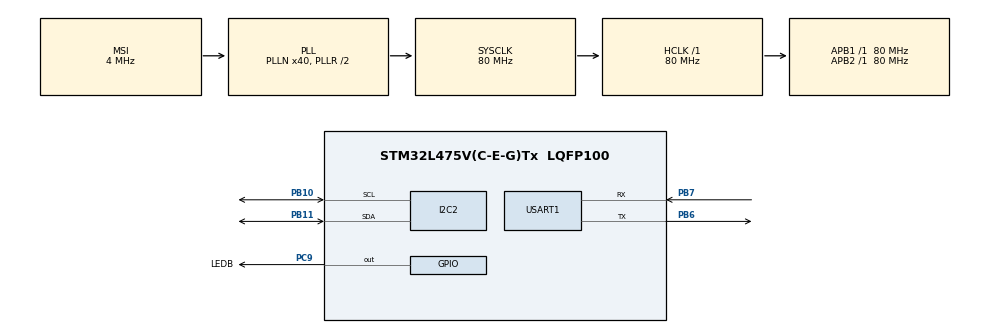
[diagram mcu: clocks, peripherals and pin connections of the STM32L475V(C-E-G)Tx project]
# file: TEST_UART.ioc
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Mcu.Family=STM32L4
Mcu.Name=STM32L475V(C-E-G)Tx
Mcu.Package=LQFP100
NVIC.PriorityGroup=NVIC_PRIORITYGROUP_4
NVIC.USART1_IRQn=true\:0\:0\:false\:false\:true\:true
PA13\ (JTMS-SWDIO).Mode=Serial_Wire
PA13\ (JTMS-SWDIO).Signal=SYS_JTMS-SWDIO
PA14\ (JTCK-SWCLK).Mode=Serial_Wire
PA14\ (JTCK-SWCLK).Signal=SYS_JTCK-SWCLK
PB10.Mode=I2C
PB10.Signal=I2C2_SCL
PB11.Mode=I2C
PB11.Signal=I2C2_SDA
PB6.Mode=Asynchronous
PB6.Signal=USART1_TX
PB7.Mode=Asynchronous
PB7.Signal=USART1_RX
PC14-OSC32_IN\ (PC14).Mode=LSE-External-Oscillator
PC14-OSC32_IN\ (PC14).Signal=RCC_OSC32_IN
PC15-OSC32_OUT\ (PC15).Mode=LSE-External-Oscillator
PC15-OSC32_OUT\ (PC15).Signal=RCC_OSC32_OUT
PC9.GPIO_Label=LEDB
PC9.Signal=GPIO_Output
ProjectManager.HeapSize=0x200
ProjectManager.StackSize=0x400
ProjectManager.TargetToolchain=SW4STM32
RCC.AHBFreq_Value=80000000
RCC.APB1Freq_Value=80000000
RCC.APB1TimFreq_Value=80000000
RCC.APB2Freq_Value=80000000
RCC.APB2TimFreq_Value=80000000
RCC.CortexFreq_Value=80000000
RCC.HCLKFreq_Value=80000000
RCC.HSE_VALUE=8000000
RCC.HSI_VALUE=16000000
RCC.MSI_VALUE=4000000
RCC.PLLN=40
RCC.SYSCLKFreq_VALUE=80000000
RCC.SYSCLKSource=RCC_SYSCLKSOURCE_PLLCLK
RCC.USART1CLockSelection=RCC_USART1CLKSOURCE_SYSCLK
RCC.VCOOutputFreq_Value=160000000
USART1.VirtualMode-Asynchronous=VM_ASYNC
USART1.WordLength=WORDLENGTH_8B
board=TEST_UART

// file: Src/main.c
/**
  ******************************************************************************
  * File Name          : main.c
  * Description        : Main program body
  ******************************************************************************
  ** This notice applies to any and all portions of this file
  * that are not between comment pairs USER CODE BEGIN and
  * USER CODE END. Other portions of this file, whether
  * inserted by the user or by software development tools
  * are owned by their respective copyright owners.
  *
  * COPYRIGHT(c) 2017 STMicroelectronics
  *
  * Redistribution and use in source and binary forms, with or without modification,
  * are permitted provided that the following conditions are met:
  *   1. Redistributions of source code must retain the above copyright notice,
  *      this list of conditions and the following disclaimer.
  *   2. Redistributions in binary form must reproduce the above copyright notice,
  *      this list of conditions and the following disclaimer in the documentation
  *      and/or other materials provided with the distribution.
  *   3. Neither the name of STMicroelectronics nor the names of its contributors
  *      may be used to endorse or promote products derived from this software
  *      without specific prior written permission.
  *
  * THIS SOFTWARE IS PROVIDED BY THE COPYRIGHT HOLDERS AND CONTRIBUTORS "AS IS"
  * AND ANY EXPRESS OR IMPLIED WARRANTIES, INCLUDING, BUT NOT LIMITED TO, THE
  * IMPLIED WARRANTIES OF MERCHANTABILITY AND FITNESS FOR A PARTICULAR PURPOSE ARE
  * DISCLAIMED. IN NO EVENT SHALL THE COPYRIGHT HOLDER OR CONTRIBUTORS BE LIABLE
  * FOR ANY DIRECT, INDIRECT, INCIDENTAL, SPECIAL, EXEMPLARY, OR CONSEQUENTIAL
  * DAMAGES (INCLUDING, BUT NOT LIMITED TO, PROCUREMENT OF SUBSTITUTE GOODS OR
  * SERVICES; LOSS OF USE, DATA, OR PROFITS; OR BUSINESS INTERRUPTION) HOWEVER
  * CAUSED AND ON ANY THEORY OF LIABILITY, WHETHER IN CONTRACT, STRICT LIABILITY,
  * OR TORT (INCLUDING NEGLIGENCE OR OTHERWISE) ARISING IN ANY WAY OUT OF THE USE
  * OF THIS SOFTWARE, EVEN IF ADVISED OF THE POSSIBILITY OF SUCH DAMAGE.
  *
  ******************************************************************************
  */
#include "main.h"
#include "stm32l4xx_hal.h"
/* USER CODE BEGIN Includes */
#include "stdio.h"
#include "terminal.h"
#include "LPS22HM.h"
#include "HTS221.h"

struct __FILE {
	int dummy;
};
/* USER CODE END Includes */

I2C_HandleTypeDef hi2c2;

UART_HandleTypeDef huart1;

/* USER CODE BEGIN PV */
/* Private variables ---------------------------------------------------------*/

/* USER CODE END PV */

void SystemClock_Config(void);
static void MX_GPIO_Init(void);
static void MX_USART1_UART_Init(void);
static void MX_I2C2_Init(void);

/* USER CODE BEGIN PFP */
/* Private function prototypes -----------------------------------------------*/

/* USER CODE END PFP */

/* USER CODE BEGIN 0 */
void Print_Out()
{
		float fTemp;
		float fHum;
		float fPress;
		int who;
		printf("\x1b[%d;%dH",1,1);
		printf(FGGREEN);
		printf(greetings);
		who = HTS221_Init();
		printf("\x1b[%d;%dH",12,1);
		printf(ATTINVERSE);
		printf(FGGREEN);
		printf("HTS221 - Humidity & Temperature sensor\r\n");
		printf(ATTRESET);
		printf(ATTINVERSE);
		printf(FGYELLOW);
		printf("Who am I = 0X%Xh\r\n",who);
		printf(ATTRESET);

		/* Poklici funkciji, ki prebereta temperaturo in vlago*/

		fTemp = HTS221_Get_Temperature();
		fHum = HTS221_Get_Humidity();

		printf(FGWHITE);
		printf("Rel. Humidity: %.1f%%\t Temperature: %.1f%s \r\n", fHum/10.0 ,fTemp, DEG_SYM);
		printf(ATTRESET);

		who = LPS22HM_Init();
		printf("\x1b[%d;%dH",17,1); //locate 1,1 (Y,X)
		printf(ATTINVERSE);
		printf(FGCYAN);
		printf("LPS22HB - Pressure & Temperature sensor\r\n");
		printf(ATTRESET);
		printf(ATTINVERSE);
		printf(FGYELLOW);
		printf("Who am I = 0X%Xh\r\n",who);
		printf(ATTRESET);

		/* Poklici funkciji, ki prebereta temperaturo in tlak*/

		fTemp = LPS22HM_Get_Temperature();
		fPress = LPS22HM_Get_Pressure();

		printf("Air Pressure: %.1f hPa @ %im ASL\t Temperature: %.1f%s ",fPress, ASL, fTemp, DEG_SYM);
}
/* USER CODE END 0 */

int main(void)
{

  /* MCU Configuration----------------------------------------------------------*/

  /* Reset of all peripherals, Initializes the Flash interface and the Systick. */
  HAL_Init();

  /* Configure the system clock */
  SystemClock_Config();

  /* Initialize all configured peripherals */
  MX_GPIO_Init();
  MX_USART1_UART_Init();
  MX_I2C2_Init();

  /* USER CODE BEGIN 2 */
  HTS221_Init();
  HAL_Delay(50);
  HTS221_Get_Calibration();
  /* USER CODE END 2 */

  /* Infinite loop */
  /* USER CODE BEGIN WHILE */
  while (1)
  {
	  Print_Out();

	  HAL_Delay(500);

  /* USER CODE END WHILE */

  }

}

/** System Clock Configuration
*/
void SystemClock_Config(void)
{

  RCC_OscInitTypeDef RCC_OscInitStruct;
  RCC_ClkInitTypeDef RCC_ClkInitStruct;
  RCC_PeriphCLKInitTypeDef PeriphClkInit;

    /**Configure LSE Drive Capability
    */
  __HAL_RCC_LSEDRIVE_CONFIG(RCC_LSEDRIVE_LOW);

    /**Initializes the CPU, AHB and APB busses clocks
    */
  RCC_OscInitStruct.OscillatorType = RCC_OSCILLATORTYPE_LSE|RCC_OSCILLATORTYPE_MSI;
  RCC_OscInitStruct.LSEState = RCC_LSE_ON;
  RCC_OscInitStruct.MSIState = RCC_MSI_ON;
  RCC_OscInitStruct.MSICalibrationValue = 0;
  RCC_OscInitStruct.MSIClockRange = RCC_MSIRANGE_6;
  RCC_OscInitStruct.PLL.PLLState = RCC_PLL_ON;
  RCC_OscInitStruct.PLL.PLLSource = RCC_PLLSOURCE_MSI;
  RCC_OscInitStruct.PLL.PLLN = 40;
  RCC_OscInitStruct.PLL.PLLP = RCC_PLLP_DIV7;
  RCC_OscInitStruct.PLL.PLLQ = RCC_PLLQ_DIV2;
  RCC_OscInitStruct.PLL.PLLR = RCC_PLLR_DIV2;
  if (HAL_RCC_OscConfig(&RCC_OscInitStruct) != HAL_OK)
  {
    _Error_Handler(__FILE__, __LINE__);
  }

    /**Initializes the CPU, AHB and APB busses clocks
    */
  RCC_ClkInitStruct.ClockType = RCC_CLOCKTYPE_HCLK|RCC_CLOCKTYPE_SYSCLK
                              |RCC_CLOCKTYPE_PCLK1|RCC_CLOCKTYPE_PCLK2;
  RCC_ClkInitStruct.SYSCLKSource = RCC_SYSCLKSOURCE_PLLCLK;
  RCC_ClkInitStruct.AHBCLKDivider = RCC_SYSCLK_DIV1;
  RCC_ClkInitStruct.APB1CLKDivider = RCC_HCLK_DIV1;
  RCC_ClkInitStruct.APB2CLKDivider = RCC_HCLK_DIV1;

  if (HAL_RCC_ClockConfig(&RCC_ClkInitStruct, FLASH_LATENCY_3) != HAL_OK)
  {
    _Error_Handler(__FILE__, __LINE__);
  }

  PeriphClkInit.PeriphClockSelection = RCC_PERIPHCLK_USART1|RCC_PERIPHCLK_I2C2;
  PeriphClkInit.Usart1ClockSelection = RCC_USART1CLKSOURCE_SYSCLK;
  PeriphClkInit.I2c2ClockSelection = RCC_I2C2CLKSOURCE_PCLK1;
  if (HAL_RCCEx_PeriphCLKConfig(&PeriphClkInit) != HAL_OK)
  {
    _Error_Handler(__FILE__, __LINE__);
  }

    /**Configure the main internal regulator output voltage
    */
  if (HAL_PWREx_ControlVoltageScaling(PWR_REGULATOR_VOLTAGE_SCALE1) != HAL_OK)
  {
    _Error_Handler(__FILE__, __LINE__);
  }

    /**Configure the Systick interrupt time
    */
  HAL_SYSTICK_Config(HAL_RCC_GetHCLKFreq()/1000);

    /**Configure the Systick
    */
  HAL_SYSTICK_CLKSourceConfig(SYSTICK_CLKSOURCE_HCLK);

    /**Enable MSI Auto calibration
    */
  HAL_RCCEx_EnableMSIPLLMode();

  /* SysTick_IRQn interrupt configuration */
  HAL_NVIC_SetPriority(SysTick_IRQn, 0, 0);
}

/* I2C2 init function */
static void MX_I2C2_Init(void)
{

  hi2c2.Instance = I2C2;
  hi2c2.Init.Timing = 0x10909CEC;
  hi2c2.Init.OwnAddress1 = 0;
  hi2c2.Init.AddressingMode = I2C_ADDRESSINGMODE_7BIT;
  hi2c2.Init.DualAddressMode = I2C_DUALADDRESS_DISABLE;
  hi2c2.Init.OwnAddress2 = 0;
  hi2c2.Init.OwnAddress2Masks = I2C_OA2_NOMASK;
  hi2c2.Init.GeneralCallMode = I2C_GENERALCALL_DISABLE;
  hi2c2.Init.NoStretchMode = I2C_NOSTRETCH_DISABLE;
  if (HAL_I2C_Init(&hi2c2) != HAL_OK)
  {
    _Error_Handler(__FILE__, __LINE__);
  }

    /**Configure Analogue filter
    */
  if (HAL_I2CEx_ConfigAnalogFilter(&hi2c2, I2C_ANALOGFILTER_ENABLE) != HAL_OK)
  {
    _Error_Handler(__FILE__, __LINE__);
  }

    /**Configure Digital filter
    */
  if (HAL_I2CEx_ConfigDigitalFilter(&hi2c2, 0) != HAL_OK)
  {
    _Error_Handler(__FILE__, __LINE__);
  }

}

/* USART1 init function */
static void MX_USART1_UART_Init(void)
{

  huart1.Instance = USART1;
  huart1.Init.BaudRate = 115200;
  huart1.Init.WordLength = UART_WORDLENGTH_8B;
  huart1.Init.StopBits = UART_STOPBITS_1;
  huart1.Init.Parity = UART_PARITY_NONE;
  huart1.Init.Mode = UART_MODE_TX_RX;
  huart1.Init.HwFlowCtl = UART_HWCONTROL_NONE;
  huart1.Init.OverSampling = UART_OVERSAMPLING_16;
  huart1.Init.OneBitSampling = UART_ONE_BIT_SAMPLE_DISABLE;
  huart1.AdvancedInit.AdvFeatureInit = UART_ADVFEATURE_NO_INIT;
  if (HAL_UART_Init(&huart1) != HAL_OK)
  {
    _Error_Handler(__FILE__, __LINE__);
  }

}

/** Configure pins as
        * Analog
        * Input
        * Output
        * EVENT_OUT
        * EXTI
*/
static void MX_GPIO_Init(void)
{

  GPIO_InitTypeDef GPIO_InitStruct;

  /* GPIO Ports Clock Enable */
  __HAL_RCC_GPIOC_CLK_ENABLE();
  __HAL_RCC_GPIOB_CLK_ENABLE();
  __HAL_RCC_GPIOA_CLK_ENABLE();

  /*Configure GPIO pin Output Level */
  HAL_GPIO_WritePin(LEDB_GPIO_Port, LEDB_Pin, GPIO_PIN_RESET);

  /*Configure GPIO pin : LEDB_Pin */
  GPIO_InitStruct.Pin = LEDB_Pin;
  GPIO_InitStruct.Mode = GPIO_MODE_OUTPUT_PP;
  GPIO_InitStruct.Pull = GPIO_NOPULL;
  GPIO_InitStruct.Speed = GPIO_SPEED_FREQ_LOW;
  HAL_GPIO_Init(LEDB_GPIO_Port, &GPIO_InitStruct);

}

/* USER CODE BEGIN 4 */

/*RETARGET FUNKCIJA -> PRINTF v source je potrebno dodati tudi syscalls.c datoteko - najdeš na githubu*/
void __io_putchar(uint8_t ch) {
	/**
	 * \brief		__io_putchar - A routine to transmit a single character out the serial port
	 * \return		void
	 * \param[in]	ch - uint8_t the character to transmit
	 * \author		andreichichak
	 * \date		Oct 16, 2015
	 * \details		This routine assumes that we will be using UART2. A timeout value of 1ms (4th parameter)
	 * 				gives a retry if the transmit buffer is full when back to back characters are transmitted,
	 * 				avoiding dropping characters.
	 */

	HAL_UART_Transmit(&huart1, &ch, 1, 1);
}
/* USER CODE END 4 */

void _Error_Handler(char * file, int line)
{
  while(1)
  {
  }
}

/************************ (C) COPYRIGHT STMicroelectronics *****END OF FILE****/
